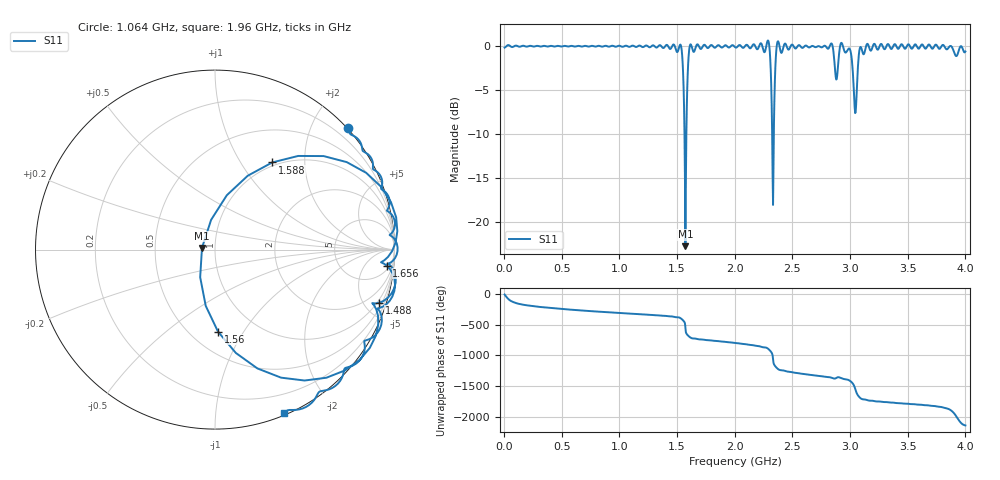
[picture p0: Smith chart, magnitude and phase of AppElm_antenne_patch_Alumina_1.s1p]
! TOUCHSTONE file generated by CST MICROWAVE STUDIO
! Date and time: Thu Jun  9 09:13:11 2022
! Project name: AppElm_antenne_patch_Alumina.cst
! Parameters = {L=30.5; W=41.8; e=0.035; h=1.6; lambda=0.190476; ls=90; w0=0.84; w1=0.373; ws=90; y0=14; y1=10}
! Header version: 2018
! Port assignment regex: !\s*Touchstone port\s*([0-9]+)\s*=\s*(CST MWS port|CST DS port)\s*([0-9]+|Zmin|Zmax)\s*\(\"(.*)\"\)(\s*mode\s*([0-9]+))?.*
! Touchstone port assignment:
! Touchstone port 1 = CST MWS port 1 ("")
# GHz S MA R 50
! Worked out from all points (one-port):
!   1000 points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, 4 MHz to 4 GHz, reference 50 ohm
!   lowest |S11| = -22.7 dB at 1.572 GHz (marker M1), VSWR 1.16, Z = 43.2 + j0.853 ohm
!   |S11| at or under -10 dB: 1.564 GHz to 1.58 GHz (16.19 MHz wide, 1.03 % of centre); 2.324 GHz to 2.339 GHz (14.65 MHz wide, 0.628 % of centre)
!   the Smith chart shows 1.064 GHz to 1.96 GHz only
!   S11 on the Smith chart (normalised r, x): 1.064 GHz: -0.02, +2.57; 1.488 GHz: 0.78, -6.25; 1.56 GHz: 0.67, -0.78; 1.588 GHz: 0.95, +1.39; 1.656 GHz: 8, -18; 1.96 GHz: 0.02, -1.51
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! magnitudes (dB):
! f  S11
! 4 MHz  -0.2
! 504 MHz  0.0
! 1.004 GHz  0.0
! 1.064 GHz  0.0
! 1.488 GHz  -0.3
! 1.504 GHz  -0.6
! 1.536 GHz  -0.1
! 1.56 GHz  -6.8
! 1.572 GHz  -22.7
! 1.588 GHz  -4.7
! 1.608 GHz  -0.1
! 1.656 GHz  -0.3
! 1.96 GHz  -0.1
! 2.004 GHz  -0.1
! 2.288 GHz  0.7
! 2.3 GHz  -0.1
! 2.32 GHz  -6.6
! 2.332 GHz  -18.0
! 2.372 GHz  0.5
! 2.504 GHz  0.1
! 2.832 GHz  0.3
! 2.88 GHz  -3.8
! 2.924 GHz  0.4
! 3.004 GHz  -0.6
! 3.044 GHz  -7.6
! 3.096 GHz  -0.2
! 3.504 GHz  0.2
! 4 GHz  -0.6
